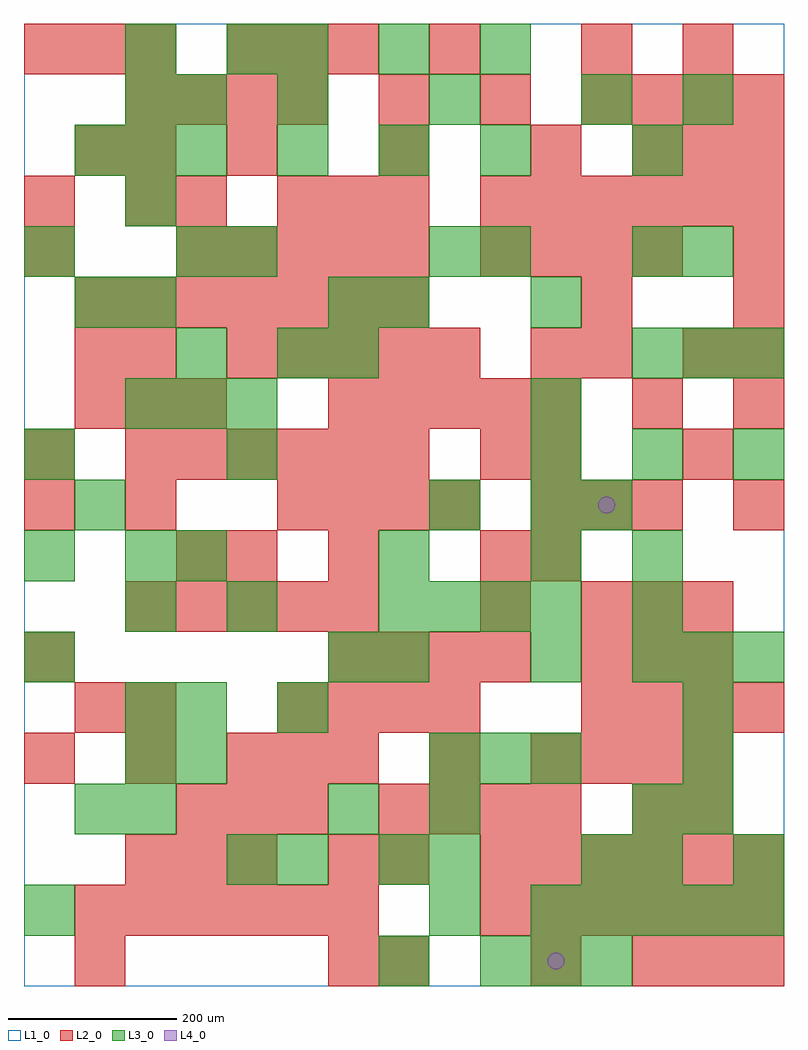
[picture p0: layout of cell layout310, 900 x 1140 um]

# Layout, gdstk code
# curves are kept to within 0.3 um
import gdstk
lib = gdstk.Library(unit=1e-6, precision=1e-09)
def R(c, l, rs):  # rectangles x0, y0, x1, y1
    for r in rs: c.add(gdstk.rectangle(r[:2], r[2:], *l))
def A(c, l, x, y, w, h, nx, ny, dx, dy):  # array of equal rectangles
    R(c, l, [(x+i*dx, y+j*dy, x+i*dx+w, y+j*dy+h) for i in range(nx) for j in range(ny)])
def P(c, l, *ps):  # polygons
    for p in ps: c.add(gdstk.Polygon(p, *l))
L1_0 = (1, 0)
L2_0 = (2, 0)
L3_0 = (3, 0)
L4_0 = (4, 0)

layout310 = lib.new_cell('layout310')
R(layout310, L1_0, [(0,0,900,1140)])
A(layout310, L2_0, 720, 0, 60, 60, 3, 2, 60, 960)
A(layout310, L2_0, 60, 60, 60, 60, 6, 1, 60, 0)
A(layout310, L2_0, 540, 60, 60, 60, 6, 2, 60, 60)
A(layout310, L2_0, 120, 120, 60, 60, 3, 1, 60, 0)
A(layout310, L2_0, 180, 180, 60, 60, 3, 1, 60, 0)
A(layout310, L2_0, 420, 180, 60, 60, 4, 1, 60, 0)
A(layout310, L2_0, 0, 240, 60, 60, 3, 1, 120, 0)
A(layout310, L2_0, 360, 240, 60, 60, 3, 1, 120, 0)
A(layout310, L2_0, 660, 240, 60, 60, 3, 2, 60, 120)
A(layout310, L2_0, 300, 300, 60, 60, 4, 2, 60, 240)
A(layout310, L2_0, 660, 300, 60, 60, 4, 1, 60, 0)
A(layout310, L2_0, 360, 360, 60, 60, 4, 1, 60, 0)
A(layout310, L2_0, 120, 420, 60, 60, 5, 1, 60, 0)
A(layout310, L2_0, 660, 420, 60, 60, 3, 1, 60, 0)
A(layout310, L2_0, 600, 480, 60, 60, 1, 3, 0, 120)
A(layout310, L2_0, 120, 540, 60, 60, 1, 3, 0, 180)
A(layout310, L2_0, 600, 540, 60, 60, 3, 1, 60, 0)
A(layout310, L2_0, 120, 600, 60, 60, 6, 1, 60, 0)
A(layout310, L2_0, 60, 660, 60, 60, 3, 1, 60, 0)
A(layout310, L2_0, 360, 660, 60, 60, 5, 1, 60, 0)
A(layout310, L2_0, 840, 660, 60, 60, 1, 4, 0, 60)
A(layout310, L2_0, 240, 720, 60, 60, 5, 1, 60, 0)
A(layout310, L2_0, 60, 780, 60, 60, 7, 1, 60, 0)
A(layout310, L2_0, 180, 840, 60, 60, 5, 1, 60, 0)
A(layout310, L2_0, 540, 840, 60, 60, 4, 1, 60, 0)
A(layout310, L2_0, 300, 900, 60, 60, 3, 1, 60, 0)
A(layout310, L2_0, 540, 900, 60, 60, 6, 1, 60, 0)
A(layout310, L2_0, 240, 960, 60, 60, 3, 1, 180, 0)
A(layout310, L2_0, 120, 1020, 60, 60, 4, 1, 60, 0)
A(layout310, L2_0, 420, 1020, 60, 60, 3, 1, 120, 0)
A(layout310, L2_0, 720, 1020, 60, 60, 3, 1, 60, 0)
A(layout310, L2_0, 0, 1080, 60, 60, 3, 1, 60, 0)
A(layout310, L2_0, 240, 1080, 60, 60, 3, 1, 60, 0)
R(layout310, L2_0, [(60,0,120,60), (360,0,420,60), (420,0,480,60), (600,0,660,60), (360,120,420,180), (420,120,480,180), (720,180,780,240), (780,180,840,240), (300,240,360,300), (60,300,120,360), (120,300,180,360), (0,360,60,420), (540,420,600,480), (180,480,240,540), (240,480,300,540), (360,480,420,540), (540,480,600,540), (0,540,60,600), (840,540,900,600), (0,600,60,660), (540,600,600,660), (780,600,840,660), (720,660,780,720), (60,720,120,780), (660,720,720,780), (780,720,840,780), (660,780,720,840), (0,840,60,900), (0,900,60,960), (180,900,240,960), (60,960,120,1020), (120,960,180,1020), (480,1080,540,1140), (660,1080,720,1140), (780,1080,840,1140)])
A(layout310, L3_0, 540, 0, 60, 60, 3, 1, 60, 0)
A(layout310, L3_0, 480, 60, 60, 60, 1, 3, 0, 60)
A(layout310, L3_0, 600, 60, 60, 60, 5, 1, 60, 0)
A(layout310, L3_0, 120, 180, 60, 60, 1, 3, 0, 60)
A(layout310, L3_0, 780, 180, 60, 60, 1, 3, 0, 60)
A(layout310, L3_0, 480, 240, 60, 60, 3, 1, 60, 0)
A(layout310, L3_0, 0, 360, 60, 60, 1, 3, 0, 120)
A(layout310, L3_0, 720, 360, 60, 60, 3, 2, 60, 360)
A(layout310, L3_0, 420, 420, 60, 60, 4, 1, 60, 0)
A(layout310, L3_0, 600, 540, 60, 60, 1, 3, 0, 120)
A(layout310, L3_0, 240, 600, 60, 60, 1, 3, 0, 240)
A(layout310, L3_0, 600, 600, 60, 60, 3, 1, 120, 0)
A(layout310, L3_0, 120, 660, 60, 60, 3, 1, 60, 0)
A(layout310, L3_0, 120, 780, 60, 60, 1, 3, 0, 120)
A(layout310, L3_0, 60, 960, 60, 60, 3, 1, 60, 0)
A(layout310, L3_0, 300, 960, 60, 60, 3, 2, 120, 120)
A(layout310, L3_0, 300, 1020, 60, 60, 3, 1, 180, 0)
R(layout310, L3_0, [(420,0,480,60), (0,60,60,120), (240,120,300,180), (300,120,360,180), (420,120,480,180), (660,120,720,180), (720,120,780,180), (840,120,900,180), (60,180,120,240), (360,180,420,240), (720,180,780,240), (180,240,240,300), (180,300,240,360), (300,300,360,360), (360,360,420,420), (420,360,480,420), (600,360,660,420), (120,420,180,480), (240,420,300,480), (720,420,780,480), (120,480,180,540), (180,480,240,540), (420,480,480,540), (600,480,660,540), (720,480,780,540), (60,540,120,600), (480,540,540,600), (660,540,720,600), (180,720,240,780), (300,720,360,780), (360,720,420,780), (60,780,120,840), (360,780,420,840), (420,780,480,840), (0,840,60,900), (180,840,240,900), (480,840,540,900), (540,840,600,900), (720,840,780,900), (780,840,840,900), (720,960,780,1020), (180,1020,240,1080), (780,1020,840,1080), (120,1080,180,1140)])
P(layout310, L4_0, [(640,30),(639.239,33.827),(637.071,37.071),(633.827,39.239),(630,40),(626.173,39.239),(622.929,37.071),(620.761,33.827),(620,30),(620.761,26.173),(622.929,22.929),(626.173,20.761),(630,20),(633.827,20.761),(637.071,22.929),(639.239,26.173)],
  [(700,570),(699.239,573.827),(697.071,577.071),(693.827,579.239),(690,580),(686.173,579.239),(682.929,577.071),(680.761,573.827),(680,570),(680.761,566.173),(682.929,562.929),(686.173,560.761),(690,560),(693.827,560.761),(697.071,562.929),(699.239,566.173)])

lib.write_gds('layout310.gds')
